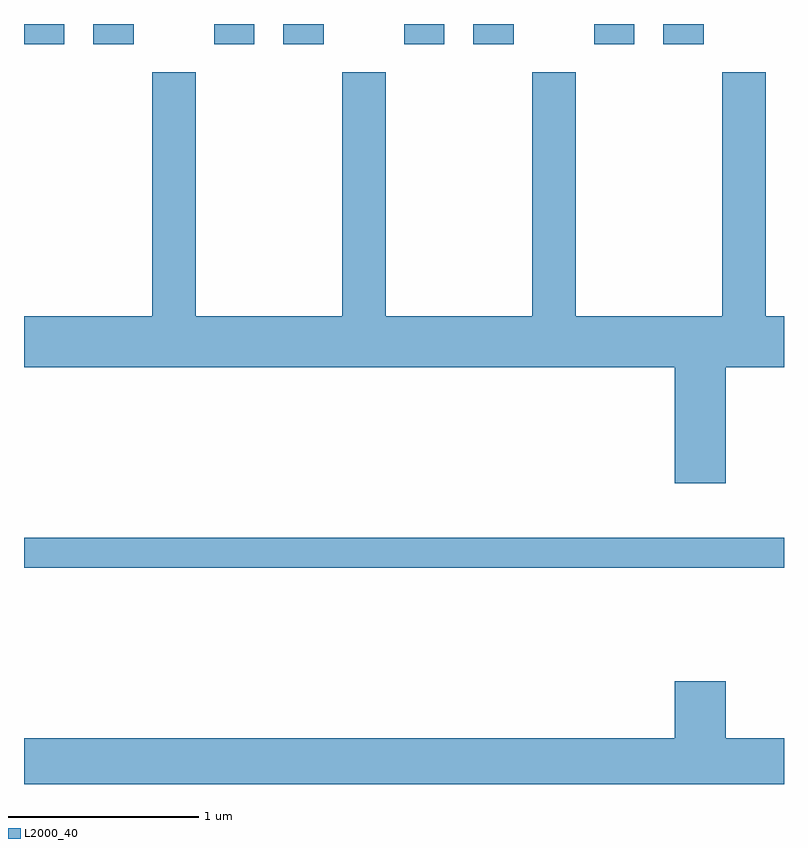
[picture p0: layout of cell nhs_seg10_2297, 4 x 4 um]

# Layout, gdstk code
import gdstk
lib = gdstk.Library(unit=1e-6, precision=1e-09)
def R(c, l, rs):  # rectangles x0, y0, x1, y1
    for r in rs: c.add(gdstk.rectangle(r[:2], r[2:], *l))
def P(c, l, *ps):  # polygons
    for p in ps: c.add(gdstk.Polygon(p, *l))
L2000_40 = (2000, 40)

nhs_seg10_2297 = lib.new_cell('nhs_seg10_2297')
R(nhs_seg10_2297, L2000_40, [(251.611,2201.661,255.611,2201.819), (251.611,2204.416,251.824,2204.522), (251.976,2204.416,252.189,2204.522), (252.611,2204.416,252.824,2204.522), (252.976,2204.416,253.189,2204.522), (253.611,2204.416,253.824,2204.522), (253.976,2204.416,254.189,2204.522), (254.611,2204.416,254.824,2204.522), (254.976,2204.416,255.189,2204.522)])
P(nhs_seg10_2297, L2000_40, [(255.304,2202.716),(255.611,2202.716),(255.611,2202.984),(255.514,2202.984),(255.514,2204.269),(255.286,2204.269),(255.286,2202.984),(254.514,2202.984),(254.514,2204.269),(254.286,2204.269),(254.286,2202.984),(253.514,2202.984),(253.514,2204.269),(253.286,2204.269),(253.286,2202.984),(252.514,2202.984),(252.514,2204.269),(252.286,2204.269),(252.286,2202.984),(251.611,2202.984),(251.611,2202.716),(255.036,2202.716),(255.036,2202.106),(255.304,2202.106)],
  [(255.611,2200.764),(255.304,2200.764),(255.304,2201.064),(255.036,2201.064),(255.036,2200.764),(251.611,2200.764),(251.611,2200.522),(255.611,2200.522)])

lib.write_gds('nhs_seg10_2297.gds')
